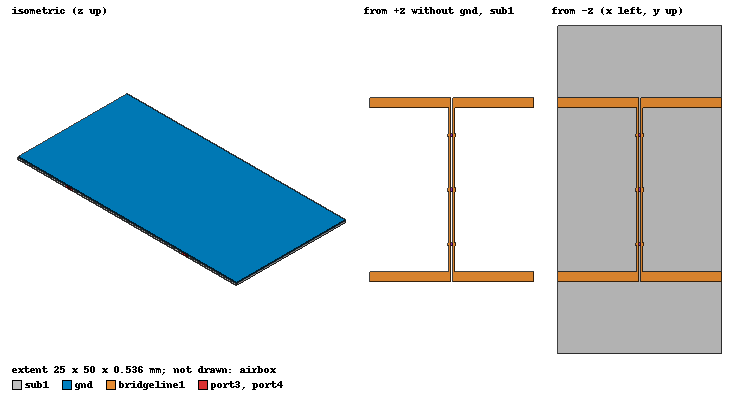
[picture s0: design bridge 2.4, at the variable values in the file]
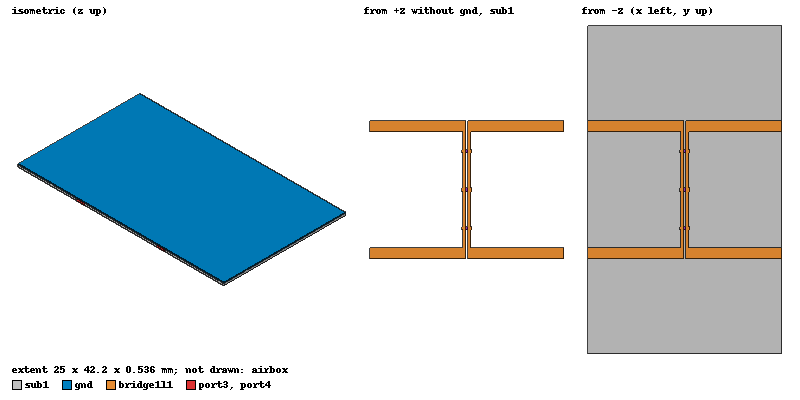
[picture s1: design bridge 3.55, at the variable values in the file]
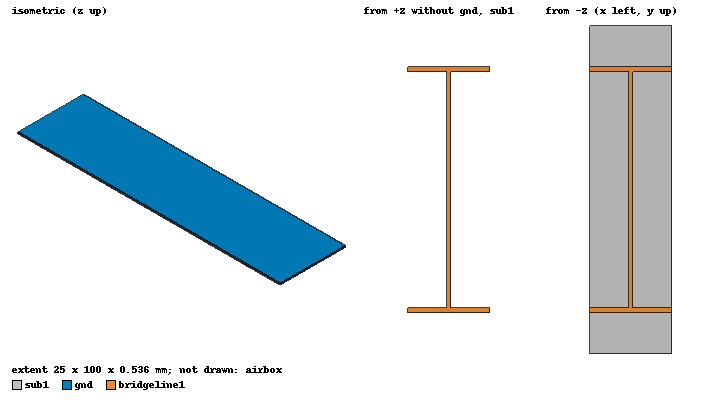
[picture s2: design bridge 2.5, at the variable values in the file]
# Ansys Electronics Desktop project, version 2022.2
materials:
  Rogers RT/duroid 5880 (tm): permittivity=2.2 dielectric_loss_tangent=0.0009
  copper: permeability=0.999991 conductivity=58000000
  vacuum: permittivity=1

design bridge 2.4 (HFSS, DrivenModal, model units mm)
options: Allow_Material_Override Save_Adaptive_support_files
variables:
  patchw = 9mm
  patch_gap = 0.3mm
  subw = patchw*3+patch_gap*4
  subh = 0.5mm
  copper = 0.018mm
  shortr = 1mm
  airh = 3mm
  gndw = 50mm
  gndew = 14mm
  feed_slotl = 22mm
  feed_slotw = 1mm
  feedlinew = 1.5mm
  feedlinel = subw/2+feedline_end+gndew/2
  feed_length = 21mm
  quarter = 25mm
  feedline_end = 5mm
  bridgex = -bridges/2-bridgew
  bridgew = 0.37mm
  bridgele = 4.15mm
  bridges = 0.3mm
  capw = 0.5mm
  bridgelinel1 = gndl/2-bridges/2
  bridgelinew = 1.5mm
  c1 = 1.5pF
  gndl = 25mm
  padw = 0.1mm
  bridgeline1 = 0
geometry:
  sub1 [Rogers RT/duroid 5880 (tm)] = box(corner=(-gndl/2, -gndw/2, -subh-airh-copper), size=(gndl, gndw, -subh))
  gnd [copper] = box(corner=(-gndl/2, -gndw/2, -subh-airh), size=(gndl, gndw, -copper))
  airbox [vacuum] = box(corner=(-subw/2-quarter, -subw/2-quarter, -airh-quarter), size=(subw+quarter*2, subw+quarter*2, subh*2+airh+quarter*2))
  bridge2l = box(corner=(bridgex, 0, -subh*2-airh-copper), size=(bridgew, bridgele*2, -copper))
  bridge2ll = box(corner=(bridgex+bridgew+bridges, 0, -subh*2-airh-copper), size=(bridgew, bridgele*2, -copper))
  bridge2l1 = box(corner=(bridgex, 0, -subh*2-airh-copper), size=(bridgew, -bridgele*2, -copper))
  bridge2ll1 = box(corner=(bridgex+bridgew+bridges, 0, -subh*2-airh-copper), size=(bridgew, -bridgele*2, -copper))
  bridge1l = box(corner=(bridgex, bridgele*2, -subh*2-airh-copper), size=(bridgew, bridgele, -copper))
  bridge1ll = box(corner=(bridgex+bridgew+bridges, bridgele*2, -subh*2-airh-copper), size=(bridgew, bridgele, -copper))
  bridge1l1 = box(corner=(bridgex, -bridgele*2, -subh*2-airh-copper), size=(bridgew, -bridgele, -copper))
  bridge1ll1 = box(corner=(bridgex+bridgew+bridges, -bridgele*2, -subh*2-airh-copper), size=(bridgew, -bridgele, -copper))
  cap1 = rectangle(corner=(bridgex+bridgew, -bridgele*2-capw/2, -subh*2-airh-copper*2), x_size=bridges, y_size=capw)
  cap2 = rectangle(corner=(bridgex+bridgew, bridgele*2+capw/2, -subh*2-airh-copper*2), x_size=bridges, y_size=-capw)
  cap3 = rectangle(corner=(bridgex+bridgew, -capw/2, -subh*2-airh-copper*2), x_size=bridges, y_size=capw)
  bridgeline1 [copper] = box(corner=(bridgex+bridgew, -bridgele*3, -subh*2-airh-copper), size=(-bridgelinel1, -bridgelinew, -copper))
  bridgeline2 = box(corner=(bridgex+bridgew, bridgele*3, -subh*2-airh-copper), size=(-bridgelinel1, bridgelinew, -copper))
  bridgeline3 = box(corner=(bridgex+bridgew+bridges, -bridgele*3, -subh*2-airh-copper), size=(bridgelinel1, -bridgelinew, -copper))
  bridgeline4 = box(corner=(bridgex+bridgew+bridges, bridgele*3, -subh*2-airh-copper), size=(bridgelinel1, bridgelinew, -copper))
  port3 = rectangle(corner=(bridgex+bridgew+bridges+bridgelinel1, -bridgele*3, -subh*2-airh-copper), y_size=-bridgelinew, z_size=subh)
  port4 = rectangle(corner=(bridgex+bridgew+bridges+bridgelinel1, bridgele*3, -subh*2-airh-copper), y_size=bridgelinew, z_size=subh)
  port1 = rectangle(corner=(-bridgex-bridgew-bridges-bridgelinel1, -bridgele*3, -subh*2-airh-copper), y_size=-bridgelinew, z_size=subh)
  port2 = rectangle(corner=(-bridgex-bridgew-bridges-bridgelinel1, bridgele*3, -subh*2-airh-copper), y_size=bridgelinew, z_size=subh)
  bridgeline1.unite(bridgeline2, bridgeline3, bridgeline4)
  pad = rectangle(corner=(bridgex, -bridgele*2-capw/2, -subh*2-airh-copper*2), x_size=-padw, y_size=capw)
  pad1 = rectangle(corner=(-bridgex, -bridgele*2-capw/2, -subh*2-airh-copper*2), x_size=padw, y_size=capw)
  pad1.thicken(copper)
  pad.thicken(-copper)
  pad2 = rectangle(corner=(bridgex, bridgele*2+capw/2, -subh*2-airh-copper*2), x_size=-padw, y_size=-capw)
  pad2.thicken(copper)
  pad3 = rectangle(corner=(-bridgex, bridgele*2+capw/2, -subh*2-airh-copper*2), x_size=padw, y_size=-capw)
  pad3.thicken(-copper)
  pad4 = rectangle(corner=(bridgex, -capw/2, -subh*2-airh-copper*2), x_size=-padw, y_size=capw)
  pad4.thicken(-copper)
  pad5 = rectangle(corner=(-bridgex, -capw/2, -subh*2-airh-copper*2), x_size=padw, y_size=capw)
  pad5.thicken(copper)
  bridge1l1.unite(bridge2l1, bridge2l, bridge1l)
  bridge1ll.unite(bridge2ll, bridge2ll1, bridge1ll1)
  bridge1l1.unite(bridge1ll)
  pad.unite(pad1, pad4, pad5, pad2, pad3)
  bridge1l1.unite(pad)
  bridgeline1.unite(bridge1l1)
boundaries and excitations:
  Rad1: Radiation Objects=airbox
  LumpRLC1: Lumped RLC Objects=cap1 CurrentLine{(-0.15, -8.3, -4.036) -> (0.15, -8.3, -4.036)} RLC_Type=Parallel Capacitance=c1
  LumpRLC2: Lumped RLC Objects=cap3 CurrentLine{(-0.15, 0, -4.036) -> (0.15, 0, -4.036)} RLC_Type=Parallel Capacitance=c1
  LumpRLC3: Lumped RLC Objects=cap2 CurrentLine{(-0.15, 8.3, -4.036) -> (0.15, 8.3, -4.036)} RLC_Type=Parallel Capacitance=c1
  1: Lumped Port Objects=port1 Modes{Mode1{IntLine{(-12.5, -12.45, -3.768) -> (-12.5, -13.95, -3.768)} CharImp=Zpi RenormImp=50ohm}} Impedance=50ohm
  2: Lumped Port Objects=port2 Modes{Mode1{IntLine{(-12.5, 12.45, -3.768) -> (-12.5, 13.95, -3.768)} CharImp=Zpi RenormImp=50ohm}} Impedance=50ohm
  3: Lumped Port Objects=port3 Modes{Mode1{IntLine{(12.5, -12.45, -3.768) -> (12.5, -13.95, -3.768)} CharImp=Zpi RenormImp=50ohm}} Impedance=50ohm
  4: Lumped Port Objects=port4 Modes{Mode1{IntLine{(12.5, 12.45, -3.768) -> (12.5, 13.95, -3.768)} CharImp=Zpi RenormImp=50ohm}} Impedance=50ohm
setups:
  Setup1: HfssDriven Frequency=2.44GHz MaxDeltaS=0.02 MaximumPasses=15 MinimumPasses=1 MinimumConvergedPasses=1 PercentRefinement=30 BasisOrder=1 PortAccuracy=2 DrivenSolverType="Direct Solver"
    sweep Sweep: 2GHz to 3GHz step 0.005GHz; Type=Fast SaveFields
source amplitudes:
  1:1: 1W 0deg
  2:1, 3:1, 4:1: 0W 0deg
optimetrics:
  ParametricSetup1: Parametric disabled Sim._Setups=[Setup1]
    sweep c1: LIN 1.2pF 1.6pF 0.1pF
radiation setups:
  Infinite Sphere1: Infinite Sphere Theta=-180deg..180deg step 2deg Phi=0deg..360deg step 5deg
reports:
  S Parameter Plot 1: dB(S(1,1)), dB(S(2,1)), dB(S(3,1)), dB(S(4,1)) vs Freq; markers MX1 at x=2.2857143e+09, MX2 at x=2.6474201e+09, MY1 at y=-3.33658
   Plot 1: ang_deg(S(3,1))-ang_deg(S(4,1)) vs Freq; markers m1 at 3.06GHz, m2 at 3.3GHz, m3 at 3.44GHz, m4 at 2.4GHz, m5 at 2.44GHz
  S Parameter Plot 2: dB(S(1,1)), dB(S(2,1)), dB(S(3,1)), dB(S(4,1)) vs Freq on Setup1 : Sweep; markers m1 at 2.5GHz, MY1 at y=-3
   Plot 2: ang_deg(S(3,1))-ang_deg(S(4,1)) vs Freq on Setup1 : Sweep; markers MX1 at x=2.4506066e+09
  S Parameter Plot 3: dB(S(1,1)), dB(S(2,1)), dB(S(3,1)), dB(S(4,1)) vs Freq on Setup1 : Sweep [c1=all]
  S Parameter Plot 4: dB(S(1,1)), dB(S(2,1)), dB(S(3,1)), dB(S(4,1)) vs Freq on Setup1 : Sweep [c1=1.6pF]; markers MX1 at x=2.4001967e+09, MX2 at x=2.5073746e+09, MY1 at y=-3
   Plot 3: ang_deg(S(3,1))-ang_deg(S(4,1)) vs Freq on Setup1 : Sweep [c1=1.6pF]; markers MX1 at x=2.4021526e+09, MX2 at x=2.5782779e+09

design bridge 3.55 (HFSS, DrivenModal, model units mm)
options: Allow_Material_Override Save_Adaptive_support_files
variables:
  patchw = 9mm
  patch_gap = 0.3mm
  subw = patchw*3+patch_gap*4
  subh = 0.5mm
  copper = 0.018mm
  shortr = 1mm
  airh = 3mm
  gndw = subw+gndew
  gndew = 14mm
  feed_slotl = 22mm
  feed_slotw = 1mm
  feedlinew = 1.5mm
  feedlinel = subw/2+feedline_end+gndew/2
  feed_length = 21mm
  quarter = 25mm
  feedline_end = 5mm
  bridgex = -bridges/2-bridgew
  bridgew = 0.34mm
  bridgele = 2.48mm
  bridges = 0.35mm
  capw = 0.5mm
  bridgelinel1 = gndl/2-bridges/2
  bridgelinew = 1.5mm
  c1 = 1pF
  gndl = 25mm
  padw = 0.1mm
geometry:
  airbox [vacuum] = box(corner=(-subw/2-quarter, -subw/2-quarter, -airh-quarter), size=(subw+quarter*2, subw+quarter*2, subh*2+airh+quarter*2))
  bridge2l = box(corner=(bridgex, 0, -subh*2-airh-copper), size=(bridgew, bridgele*2, -copper))
  bridge2ll = box(corner=(bridgex+bridgew+bridges, 0, -subh*2-airh-copper), size=(bridgew, bridgele*2, -copper))
  bridge2l1 = box(corner=(bridgex, 0, -subh*2-airh-copper), size=(bridgew, -bridgele*2, -copper))
  bridge2ll1 = box(corner=(bridgex+bridgew+bridges, 0, -subh*2-airh-copper), size=(bridgew, -bridgele*2, -copper))
  bridge1l = box(corner=(bridgex, bridgele*2, -subh*2-airh-copper), size=(bridgew, bridgele, -copper))
  bridge1ll = box(corner=(bridgex+bridgew+bridges, bridgele*2, -subh*2-airh-copper), size=(bridgew, bridgele, -copper))
  bridge1l1 [copper] = box(corner=(bridgex, -bridgele*2, -subh*2-airh-copper), size=(bridgew, -bridgele, -copper))
  bridge1ll1 = box(corner=(bridgex+bridgew+bridges, -bridgele*2, -subh*2-airh-copper), size=(bridgew, -bridgele, -copper))
  cap1 = rectangle(corner=(bridgex+bridgew, -bridgele*2-capw/2, -subh*2-airh-copper*2), x_size=bridges, y_size=capw)
  cap2 = rectangle(corner=(bridgex+bridgew, bridgele*2+capw/2, -subh*2-airh-copper*2), x_size=bridges, y_size=-capw)
  cap3 = rectangle(corner=(bridgex+bridgew, -capw/2, -subh*2-airh-copper*2), x_size=bridges, y_size=capw)
  bridgeline1 = box(corner=(bridgex+bridgew, -bridgele*3, -subh*2-airh-copper), size=(-bridgelinel1, -bridgelinew, -copper))
  bridgeline2 = box(corner=(bridgex+bridgew, bridgele*3, -subh*2-airh-copper), size=(-bridgelinel1, bridgelinew, -copper))
  bridgeline3 = box(corner=(bridgex+bridgew+bridges, -bridgele*3, -subh*2-airh-copper), size=(bridgelinel1, -bridgelinew, -copper))
  bridgeline4 = box(corner=(bridgex+bridgew+bridges, bridgele*3, -subh*2-airh-copper), size=(bridgelinel1, bridgelinew, -copper))
  sub1 [Rogers RT/duroid 5880 (tm)] = box(corner=(-gndl/2, -gndw/2, -subh-airh-copper), size=(gndl, gndw, -subh))
  gnd [copper] = box(corner=(-gndl/2, -gndw/2, -subh-airh), size=(gndl, gndw, -copper))
  port3 = rectangle(corner=(bridgex+bridgew+bridges+bridgelinel1, -bridgele*3, -subh*2-airh-copper), y_size=-bridgelinew, z_size=subh)
  port4 = rectangle(corner=(bridgex+bridgew+bridges+bridgelinel1, bridgele*3, -subh*2-airh-copper), y_size=bridgelinew, z_size=subh)
  port1 = rectangle(corner=(-bridgex-bridgew-bridges-bridgelinel1, -bridgele*3, -subh*2-airh-copper), y_size=-bridgelinew, z_size=subh)
  port2 = rectangle(corner=(-bridgex-bridgew-bridges-bridgelinel1, bridgele*3, -subh*2-airh-copper), y_size=bridgelinew, z_size=subh)
  pad = rectangle(corner=(bridgex, -bridgele*2-capw/2, -subh*2-airh-copper*2), x_size=-padw, y_size=capw)
  pad.thicken(-copper)
  pad1 = rectangle(corner=(-bridgex, -bridgele*2-capw/2, -subh*2-airh-copper*2), x_size=padw, y_size=capw)
  pad1.thicken(copper)
  pad4 = rectangle(corner=(bridgex, -capw/2, -subh*2-airh-copper*2), x_size=-padw, y_size=capw)
  pad4.thicken(-copper)
  pad5 = rectangle(corner=(-bridgex, -capw/2, -subh*2-airh-copper*2), x_size=padw, y_size=capw)
  pad5.thicken(copper)
  pad2 = rectangle(corner=(bridgex, bridgele*2+capw/2, -subh*2-airh-copper*2), x_size=-padw, y_size=-capw)
  pad2.thicken(copper)
  pad3 = rectangle(corner=(-bridgex, bridgele*2+capw/2, -subh*2-airh-copper*2), x_size=padw, y_size=-capw)
  pad3.thicken(-copper)
  pad.unite(pad1, pad4, pad5, pad2, pad3)
  bridge1l1.unite(bridge1ll1, bridge2l1, bridge2ll1, bridge2l, bridge2ll, bridge1l, bridge1ll)
  bridgeline1.unite(bridgeline3, bridgeline2, bridgeline4)
  bridge1l1.unite(pad)
  bridge1l1.unite(bridgeline1)
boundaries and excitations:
  Rad1: Radiation Objects=airbox
  LumpRLC1: Lumped RLC Objects=cap1 CurrentLine{(-0.175, -4.96, -4.036) -> (0.175, -4.96, -4.036)} RLC_Type=Parallel Capacitance=c1
  LumpRLC2: Lumped RLC Objects=cap3 CurrentLine{(-0.175, 0, -4.036) -> (0.175, 0, -4.036)} RLC_Type=Parallel Capacitance=c1
  LumpRLC3: Lumped RLC Objects=cap2 CurrentLine{(-0.175, 4.96, -4.036) -> (0.175, 4.96, -4.036)} RLC_Type=Parallel Capacitance=c1
  1: Lumped Port Objects=port1 Modes{Mode1{IntLine{(-12.5, -8.19, -4.018) -> (-12.5, -8.19, -3.518)} CharImp=Zpi RenormImp=50ohm}} Impedance=50ohm
  2: Lumped Port Objects=port2 Modes{Mode1{IntLine{(-12.5, 8.19, -4.018) -> (-12.5, 8.19, -3.518)} CharImp=Zpi RenormImp=50ohm}} Impedance=50ohm
  3: Lumped Port Objects=port3 Modes{Mode1{IntLine{(12.5, -8.19, -4.018) -> (12.5, -8.19, -3.518)} CharImp=Zpi RenormImp=50ohm}} Impedance=50ohm
  4: Lumped Port Objects=port4 Modes{Mode1{IntLine{(12.5, 8.19, -4.018) -> (12.5, 8.19, -3.518)} CharImp=Zpi RenormImp=50ohm}} Impedance=50ohm
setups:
  Setup1: HfssDriven Frequency=3.55GHz MaxDeltaS=0.02 MaximumPasses=15 MinimumPasses=1 MinimumConvergedPasses=1 PercentRefinement=30 BasisOrder=1 PortAccuracy=2 DrivenSolverType="Direct Solver"
    sweep Sweep: 2GHz to 5GHz step 0.02GHz; Type=Discrete SaveFields
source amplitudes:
  1:1: 1W 0deg
  2:1, 3:1, 4:1: 0W 0deg
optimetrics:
  ParametricSetup1: Parametric Sim._Setups=[Setup1]
    sweep c1: LIN 0.8pF 1.2pF 0.1pF
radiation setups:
  Infinite Sphere1: Infinite Sphere Theta=-180deg..180deg step 2deg Phi=0deg..360deg step 5deg
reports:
  S Parameter Plot 1: dB(S(1,1)), dB(S(2,1)), dB(S(3,1)), dB(S(4,1)) vs Freq; markers MX1 at x=3.3083538e+09, MX2 at x=4.2113022e+09, MY1 at y=-3
   Plot 1: ang_deg(S(3,1))-ang_deg(S(4,1)) vs Freq; markers m1 at 3.06GHz, m2 at 3.3GHz, m3 at 3.44GHz
  S Parameter Plot 2: dB(S(1,1)), dB(S(2,1)), dB(S(3,1)), dB(S(4,1)) vs Freq on Setup1 : Sweep; markers MX1 at x=3.3038348e+09, MX2 at x=4.2094395e+09, MX3 at x=3.7286136e+09, MY1 at y=-3
   Plot 2: ang_deg(S(3,1))-ang_deg(S(4,1)) vs Freq on Setup1 : Sweep; markers MX1 at x=3.3033268e+09, MX2 at x=4.1986301e+09

design bridge 2.5 (HFSS, DrivenModal, model units mm)
options: Allow_Material_Override Save_Adaptive_support_files
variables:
  patchw = 11mm
  patch_gap = 0.3mm
  subw = patchw*3+patch_gap*4+20mm
  subh = 0.5mm
  copper = 0.018mm
  shortr = 1mm
  airh = 3mm
  gndw = 100mm
  gndew = 14mm
  feed_slotl = 22mm
  feed_slotw = 1mm
  feedlinew = 1.5mm
  feedlinel = subw/2+feedline_end+gndew/2
  feed_length = 21mm
  quarter = 35mm
  feedline_end = 5mm
  bridgex = -bridges/2-bridgew
  bridgew = 0.37mm
  bridgele = 12mm
  bridges = 0.3mm
  capw = 0.5mm
  bridgelinel1 = gndl/2-bridges/2
  bridgelinew = 1.5mm
  c1 = 3.9pF
  gndl = 25mm
  padw = 0.1mm
  bridgeline1 = 0
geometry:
  sub1 [Rogers RT/duroid 5880 (tm)] = box(corner=(-gndl/2, -gndw/2, -subh-airh-copper), size=(gndl, gndw, -subh))
  gnd [copper] = box(corner=(-gndl/2, -gndw/2, -subh-airh), size=(gndl, gndw, -copper))
  airbox [vacuum] = box(corner=(-subw/2-quarter, -subw/2-quarter, -airh-quarter), size=(subw+quarter*2, subw+quarter*2, subh*2+airh+quarter*2))
  bridge2l = box(corner=(bridgex, 0, -subh*2-airh-copper), size=(bridgew, bridgele*2, -copper))
  bridge2ll = box(corner=(bridgex+bridgew+bridges, 0, -subh*2-airh-copper), size=(bridgew, bridgele*2, -copper))
  bridge2l1 = box(corner=(bridgex, 0, -subh*2-airh-copper), size=(bridgew, -bridgele*2, -copper))
  bridge2ll1 = box(corner=(bridgex+bridgew+bridges, 0, -subh*2-airh-copper), size=(bridgew, -bridgele*2, -copper))
  bridge1l = box(corner=(bridgex, bridgele*2, -subh*2-airh-copper), size=(bridgew, bridgele, -copper))
  bridge1ll = box(corner=(bridgex+bridgew+bridges, bridgele*2, -subh*2-airh-copper), size=(bridgew, bridgele, -copper))
  bridge1l1 = box(corner=(bridgex, -bridgele*2, -subh*2-airh-copper), size=(bridgew, -bridgele, -copper))
  bridge1ll1 = box(corner=(bridgex+bridgew+bridges, -bridgele*2, -subh*2-airh-copper), size=(bridgew, -bridgele, -copper))
  cap1 = rectangle(corner=(bridgex+bridgew, -bridgele*2-capw/2, -subh*2-airh-copper*2), x_size=bridges, y_size=capw)
  cap2 = rectangle(corner=(bridgex+bridgew, bridgele*2+capw/2, -subh*2-airh-copper*2), x_size=bridges, y_size=-capw)
  cap3 = rectangle(corner=(bridgex+bridgew, -capw/2, -subh*2-airh-copper*2), x_size=bridges, y_size=capw)
  bridgeline1 [copper] = box(corner=(bridgex+bridgew, -bridgele*3, -subh*2-airh-copper), size=(-bridgelinel1, -bridgelinew, -copper))
  bridgeline2 = box(corner=(bridgex+bridgew, bridgele*3, -subh*2-airh-copper), size=(-bridgelinel1, bridgelinew, -copper))
  bridgeline3 = box(corner=(bridgex+bridgew+bridges, -bridgele*3, -subh*2-airh-copper), size=(bridgelinel1, -bridgelinew, -copper))
  bridgeline4 = box(corner=(bridgex+bridgew+bridges, bridgele*3, -subh*2-airh-copper), size=(bridgelinel1, bridgelinew, -copper))
  port3 = rectangle(corner=(bridgex+bridgew+bridges+bridgelinel1, -bridgele*3, -subh*2-airh-copper), y_size=-bridgelinew, z_size=subh)
  port4 = rectangle(corner=(bridgex+bridgew+bridges+bridgelinel1, bridgele*3, -subh*2-airh-copper), y_size=bridgelinew, z_size=subh)
  port1 = rectangle(corner=(-bridgex-bridgew-bridges-bridgelinel1, -bridgele*3, -subh*2-airh-copper), y_size=-bridgelinew, z_size=subh)
  port2 = rectangle(corner=(-bridgex-bridgew-bridges-bridgelinel1, bridgele*3, -subh*2-airh-copper), y_size=bridgelinew, z_size=subh)
  bridgeline1.unite(bridgeline2, bridgeline3, bridgeline4)
  pad = rectangle(corner=(bridgex, -bridgele*2-capw/2, -subh*2-airh-copper*2), x_size=-padw, y_size=capw)
  pad1 = rectangle(corner=(-bridgex, -bridgele*2-capw/2, -subh*2-airh-copper*2), x_size=padw, y_size=capw)
  pad1.thicken(copper)
  pad.thicken(-copper)
  pad2 = rectangle(corner=(bridgex, bridgele*2+capw/2, -subh*2-airh-copper*2), x_size=-padw, y_size=-capw)
  pad2.thicken(copper)
  pad3 = rectangle(corner=(-bridgex, bridgele*2+capw/2, -subh*2-airh-copper*2), x_size=padw, y_size=-capw)
  pad3.thicken(-copper)
  pad4 = rectangle(corner=(bridgex, -capw/2, -subh*2-airh-copper*2), x_size=-padw, y_size=capw)
  pad4.thicken(-copper)
  pad5 = rectangle(corner=(-bridgex, -capw/2, -subh*2-airh-copper*2), x_size=padw, y_size=capw)
  pad5.thicken(copper)
  bridge1l1.unite(bridge2l1, bridge2l, bridge1l)
  bridge1ll.unite(bridge2ll, bridge2ll1, bridge1ll1)
  bridge1l1.unite(bridge1ll)
  pad.unite(pad1, pad4, pad5, pad2, pad3)
  bridge1l1.unite(pad)
  bridgeline1.unite(bridge1l1)
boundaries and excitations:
  Rad1: Radiation Objects=airbox
  LumpRLC1: Lumped RLC Objects=cap1 CurrentLine{(-0.15, -24, -4.036) -> (0.15, -24, -4.036)} RLC_Type=Parallel Capacitance=c1
  LumpRLC2: Lumped RLC Objects=cap3 CurrentLine{(-0.15, 0, -4.036) -> (0.15, 0, -4.036)} RLC_Type=Parallel Capacitance=c1
  LumpRLC3: Lumped RLC Objects=cap2 CurrentLine{(-0.15, 24, -4.036) -> (0.15, 24, -4.036)} RLC_Type=Parallel Capacitance=c1
  1: Lumped Port Objects=port1 Modes{Mode1{IntLine{(-12.5, -36, -3.768) -> (-12.5, -37.5, -3.768)} CharImp=Zpi RenormImp=50ohm}} Impedance=50ohm
  2: Lumped Port Objects=port2 Modes{Mode1{IntLine{(-12.5, 36, -3.768) -> (-12.5, 37.5, -3.768)} CharImp=Zpi RenormImp=50ohm}} Impedance=50ohm
  3: Lumped Port Objects=port3 Modes{Mode1{IntLine{(12.5, -36, -3.768) -> (12.5, -37.5, -3.768)} CharImp=Zpi RenormImp=50ohm}} Impedance=50ohm
  4: Lumped Port Objects=port4 Modes{Mode1{IntLine{(12.5, 36, -3.768) -> (12.5, 37.5, -3.768)} CharImp=Zpi RenormImp=50ohm}} Impedance=50ohm
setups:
  Setup1: HfssDriven Frequency=0.925GHz MaxDeltaS=0.02 MaximumPasses=15 MinimumPasses=1 MinimumConvergedPasses=1 PercentRefinement=30 BasisOrder=1 PortAccuracy=2 DrivenSolverType="Direct Solver"
    sweep Sweep: 0.7GHz to 1.1GHz step 0.005GHz; Type=Interpolating InterpTolerance=0.5 InterpMaxSolns=250 InterpUsePortImped=false PassivityErrorTolerance=0.0001
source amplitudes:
  1:1: 1W 0deg
  2:1, 3:1, 4:1: 0W 0deg
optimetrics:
  ParametricSetup1: Parametric disabled Sim._Setups=[Setup1]
    sweep c1: LIN 1.2pF 1.6pF 0.1pF
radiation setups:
  Infinite Sphere1: Infinite Sphere Theta=-180deg..180deg step 2deg Phi=0deg..360deg step 5deg
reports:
  S Parameter Plot 1: dB(S(1,1)), dB(S(2,1)), dB(S(3,1)), dB(S(4,1)) vs Freq; markers MX1 at x=2.2857143e+09, MX2 at x=2.6474201e+09, MY1 at y=-3.33658
   Plot 1: ang_deg(S(3,1))-ang_deg(S(4,1)) vs Freq; markers m1 at 3.06GHz, m2 at 3.3GHz, m3 at 3.44GHz, m4 at 2.4GHz, m5 at 2.44GHz
  S Parameter Plot 2: dB(S(1,1)), dB(S(2,1)), dB(S(3,1)), dB(S(4,1)) vs Freq on Setup1 : Sweep; markers m1 at 2.5GHz, MX1 at x=9.2813456e+08, MY1 at y=-6.9378
   Plot 2: ang_deg(S(3,1))-ang_deg(S(4,1)) vs Freq on Setup1 : Sweep; markers MX1 at x=2.4506066e+09
  S Parameter Plot 3: dB(S(1,1)), dB(S(2,1)), dB(S(3,1)), dB(S(4,1)) vs Freq on Setup1 : Sweep [c1=all]
  S Parameter Plot 4: dB(S(1,1)), dB(S(2,1)), dB(S(3,1)), dB(S(4,1)) vs Freq on Setup1 : Sweep [c1=1.6pF]; markers MX1 at x=2.4001967e+09, MX2 at x=2.5073746e+09, MY1 at y=-3
   Plot 3: ang_deg(S(3,1))-ang_deg(S(4,1)) vs Freq on Setup1 : Sweep [c1=1.6pF]; markers MX1 at x=2.4021526e+09, MX2 at x=2.5782779e+09
  S Parameter Plot 5: dB(S(1,1)), dB(S(2,1)), dB(S(3,1)), dB(S(4,1)) vs Freq on Setup1 : Sweep
